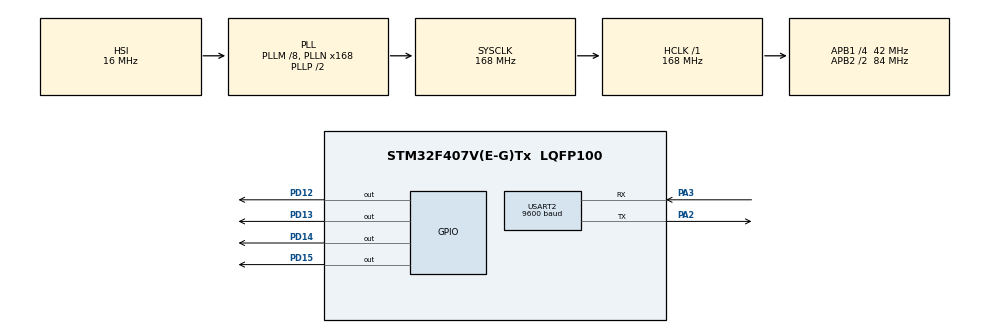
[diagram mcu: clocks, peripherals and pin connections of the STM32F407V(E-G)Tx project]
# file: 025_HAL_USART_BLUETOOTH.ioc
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Mcu.Family=STM32F4
Mcu.Name=STM32F407V(E-G)Tx
Mcu.Package=LQFP100
NVIC.PriorityGroup=NVIC_PRIORITYGROUP_0
PA2.Mode=Asynchronous
PA2.Signal=USART2_TX
PA3.Mode=Asynchronous
PA3.Signal=USART2_RX
PD12.Signal=GPIO_Output
PD13.Signal=GPIO_Output
PD14.Signal=GPIO_Output
PD15.Signal=GPIO_Output
ProjectManager.HeapSize=0x200
ProjectManager.StackSize=0x400
ProjectManager.TargetToolchain=STM32CubeIDE
RCC.48MHZClocksFreq_Value=48000000
RCC.AHBFreq_Value=168000000
RCC.APB1CLKDivider=RCC_HCLK_DIV4
RCC.APB1Freq_Value=42000000
RCC.APB1TimFreq_Value=84000000
RCC.APB2CLKDivider=RCC_HCLK_DIV2
RCC.APB2Freq_Value=84000000
RCC.APB2TimFreq_Value=168000000
RCC.CortexFreq_Value=168000000
RCC.HCLKFreq_Value=168000000
RCC.HSE_VALUE=8000000
RCC.HSI_VALUE=16000000
RCC.LSE_VALUE=32768
RCC.PLLM=8
RCC.PLLN=168
RCC.PLLQ=7
RCC.SYSCLKFreq_VALUE=168000000
RCC.SYSCLKSource=RCC_SYSCLKSOURCE_PLLCLK
RCC.VCOOutputFreq_Value=336000000
USART2.BaudRate=9600
USART2.VirtualMode=VM_ASYNC
board=STM32F407G-DISC1

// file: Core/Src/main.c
/* USER CODE BEGIN Header */
/**
  ******************************************************************************
  * @file           : main.c
  * @brief          : Main program body
  ******************************************************************************
  * @attention
  *
  * Copyright (c) 2023 STMicroelectronics.
  * All rights reserved.
  *
  * This software is licensed under terms that can be found in the LICENSE file
  * in the root directory of this software component.
  * If no LICENSE file comes with this software, it is provided AS-IS.
  *
  ******************************************************************************
  */
/* USER CODE END Header */
#include "main.h"

/* USER CODE BEGIN Includes */
#include "stdbool.h"
#include "string.h"
#include "ctype.h"
#include "stdlib.h"
#include "stdio.h"
/* USER CODE END Includes */

UART_HandleTypeDef huart2;

/* USER CODE BEGIN PV */
char rx_buffer[50], tx_buffer[50];
bool led_state = false;
/* USER CODE END PV */

void SystemClock_Config(void);
static void MX_GPIO_Init(void);
static void MX_USART2_UART_Init(void);

int main(void)
{

  /* MCU Configuration--------------------------------------------------------*/

  /* Reset of all peripherals, Initializes the Flash interface and the Systick. */
  HAL_Init();

  /* Configure the system clock */
  SystemClock_Config();

  /* Initialize all configured peripherals */
  MX_GPIO_Init();
  MX_USART2_UART_Init();

  /* Infinite loop */
  while (1)
  {

    /* USER CODE BEGIN 3 */
	  HAL_UART_Receive(&huart2, (uint8_t*)rx_buffer, 50, 100);

	  if(strncmp(rx_buffer, "led on", 6) == 0)
	  {
		  HAL_GPIO_WritePin(GPIOD, GPIO_PIN_12|GPIO_PIN_13|GPIO_PIN_14|GPIO_PIN_15, GPIO_PIN_SET);
		  if(led_state != true)
		  {
			  HAL_UART_Transmit(&huart2, (uint8_t*)tx_buffer, sprintf(tx_buffer,"Ledler yandi\n"), 100);
			  led_state = true;
		  }
	  }
	  else if(strncmp(rx_buffer, "led off", 7) == 0)
	  {
		  HAL_GPIO_WritePin(GPIOD, GPIO_PIN_12|GPIO_PIN_13|GPIO_PIN_14|GPIO_PIN_15, GPIO_PIN_RESET);
		  if(led_state != false)
		  {
			  HAL_UART_Transmit(&huart2, (uint8_t*)tx_buffer, sprintf(tx_buffer,"Ledler sondi\n"), 100);
			  led_state = false;
		  }
	  }
  }
  /* USER CODE END 3 */
}

void SystemClock_Config(void)
{
  RCC_OscInitTypeDef RCC_OscInitStruct = {0};
  RCC_ClkInitTypeDef RCC_ClkInitStruct = {0};

  /** Configure the main internal regulator output voltage
  */
  __HAL_RCC_PWR_CLK_ENABLE();
  __HAL_PWR_VOLTAGESCALING_CONFIG(PWR_REGULATOR_VOLTAGE_SCALE1);

  /** Initializes the RCC Oscillators according to the specified parameters
  * in the RCC_OscInitTypeDef structure.
  */
  RCC_OscInitStruct.OscillatorType = RCC_OSCILLATORTYPE_HSI;
  RCC_OscInitStruct.HSIState = RCC_HSI_ON;
  RCC_OscInitStruct.HSICalibrationValue = RCC_HSICALIBRATION_DEFAULT;
  RCC_OscInitStruct.PLL.PLLState = RCC_PLL_ON;
  RCC_OscInitStruct.PLL.PLLSource = RCC_PLLSOURCE_HSI;
  RCC_OscInitStruct.PLL.PLLM = 8;
  RCC_OscInitStruct.PLL.PLLN = 168;
  RCC_OscInitStruct.PLL.PLLP = RCC_PLLP_DIV2;
  RCC_OscInitStruct.PLL.PLLQ = 7;
  if (HAL_RCC_OscConfig(&RCC_OscInitStruct) != HAL_OK)
  {
    Error_Handler();
  }

  /** Initializes the CPU, AHB and APB buses clocks
  */
  RCC_ClkInitStruct.ClockType = RCC_CLOCKTYPE_HCLK|RCC_CLOCKTYPE_SYSCLK
                              |RCC_CLOCKTYPE_PCLK1|RCC_CLOCKTYPE_PCLK2;
  RCC_ClkInitStruct.SYSCLKSource = RCC_SYSCLKSOURCE_PLLCLK;
  RCC_ClkInitStruct.AHBCLKDivider = RCC_SYSCLK_DIV1;
  RCC_ClkInitStruct.APB1CLKDivider = RCC_HCLK_DIV4;
  RCC_ClkInitStruct.APB2CLKDivider = RCC_HCLK_DIV2;

  if (HAL_RCC_ClockConfig(&RCC_ClkInitStruct, FLASH_LATENCY_5) != HAL_OK)
  {
    Error_Handler();
  }
}

static void MX_USART2_UART_Init(void)
{

  huart2.Instance = USART2;
  huart2.Init.BaudRate = 9600;
  huart2.Init.WordLength = UART_WORDLENGTH_8B;
  huart2.Init.StopBits = UART_STOPBITS_1;
  huart2.Init.Parity = UART_PARITY_NONE;
  huart2.Init.Mode = UART_MODE_TX_RX;
  huart2.Init.HwFlowCtl = UART_HWCONTROL_NONE;
  huart2.Init.OverSampling = UART_OVERSAMPLING_16;
  if (HAL_UART_Init(&huart2) != HAL_OK)
  {
    Error_Handler();
  }

}

static void MX_GPIO_Init(void)
{
  GPIO_InitTypeDef GPIO_InitStruct = {0};

  /* GPIO Ports Clock Enable */
  __HAL_RCC_GPIOA_CLK_ENABLE();
  __HAL_RCC_GPIOD_CLK_ENABLE();

  /*Configure GPIO pin Output Level */
  HAL_GPIO_WritePin(GPIOD, GPIO_PIN_12|GPIO_PIN_13|GPIO_PIN_14|GPIO_PIN_15, GPIO_PIN_RESET);

  /*Configure GPIO pins : PD12 PD13 PD14 PD15 */
  GPIO_InitStruct.Pin = GPIO_PIN_12|GPIO_PIN_13|GPIO_PIN_14|GPIO_PIN_15;
  GPIO_InitStruct.Mode = GPIO_MODE_OUTPUT_PP;
  GPIO_InitStruct.Pull = GPIO_NOPULL;
  GPIO_InitStruct.Speed = GPIO_SPEED_FREQ_LOW;
  HAL_GPIO_Init(GPIOD, &GPIO_InitStruct);

}

void Error_Handler(void)
{
  __disable_irq();
  while (1)
  {
  }
}
